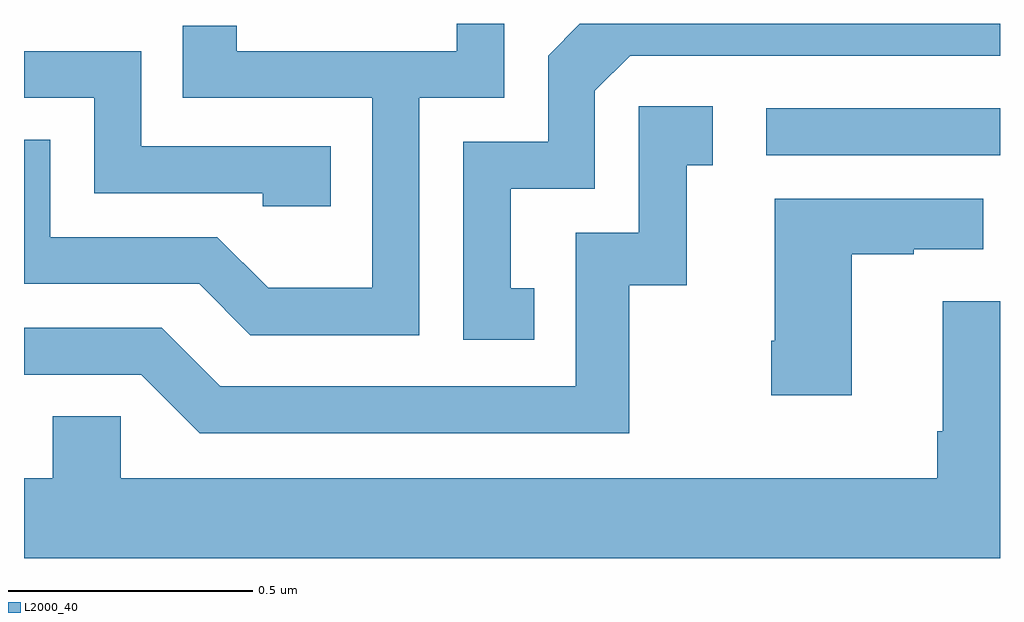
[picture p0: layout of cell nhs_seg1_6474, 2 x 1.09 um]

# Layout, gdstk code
import gdstk
lib = gdstk.Library(unit=1e-6, precision=1e-09)
def R(c, l, rs):  # rectangles x0, y0, x1, y1
    for r in rs: c.add(gdstk.rectangle(r[:2], r[2:], *l))
def P(c, l, *ps):  # polygons
    for p in ps: c.add(gdstk.Polygon(p, *l))
L2000_40 = (2000, 40)

nhs_seg1_6474 = lib.new_cell('nhs_seg1_6474')
R(nhs_seg1_6474, L2000_40, [(193.521,513.93,194,514.026)])
P(nhs_seg1_6474, L2000_40, [(192.81,514.047),(192.984,514.047),(192.984,514.199),(192.887,514.199),(192.887,514.143),(192.436,514.143),(192.436,514.195),(192.325,514.195),(192.325,514.047),(192.714,514.047),(192.714,513.658),(192.5,513.658),(192.396,513.762),(192.054,513.762),(192.054,513.961),(192,513.961),(192,513.666),(192.359,513.666),(192.464,513.561),(192.81,513.561)],
  [(193.046,513.657),(192.997,513.657),(192.997,513.861),(193.17,513.861),(193.17,514.062),(193.242,514.134),(194,514.134),(194,514.199),(193.139,514.199),(193.074,514.134),(193.074,513.957),(192.9,513.957),(192.9,513.552),(193.046,513.552)],
  [(192.629,513.948),(192.24,513.948),(192.24,514.143),(192,514.143),(192,514.047),(192.144,514.047),(192.144,513.852),(192.489,513.852),(192.489,513.825),(192.629,513.825)],
  [(193.24,513.663),(193.358,513.663),(193.358,513.909),(193.411,513.909),(193.411,514.03),(193.26,514.03),(193.26,513.771),(193.131,513.771),(193.131,513.456),(192.402,513.456),(192.282,513.576),(192,513.576),(192,513.48),(192.24,513.48),(192.36,513.36),(193.24,513.36)],
  [(193.696,513.727),(193.823,513.727),(193.823,513.737),(193.966,513.737),(193.966,513.841),(193.538,513.841),(193.538,513.55),(193.531,513.55),(193.531,513.438),(193.696,513.438)],
  [(194,513.631),(193.883,513.631),(193.883,513.364),(193.871,513.364),(193.871,513.268),(192.198,513.268),(192.198,513.395),(192.059,513.395),(192.059,513.268),(192,513.268),(192,513.104),(194,513.104)])

lib.write_gds('nhs_seg1_6474.gds')
